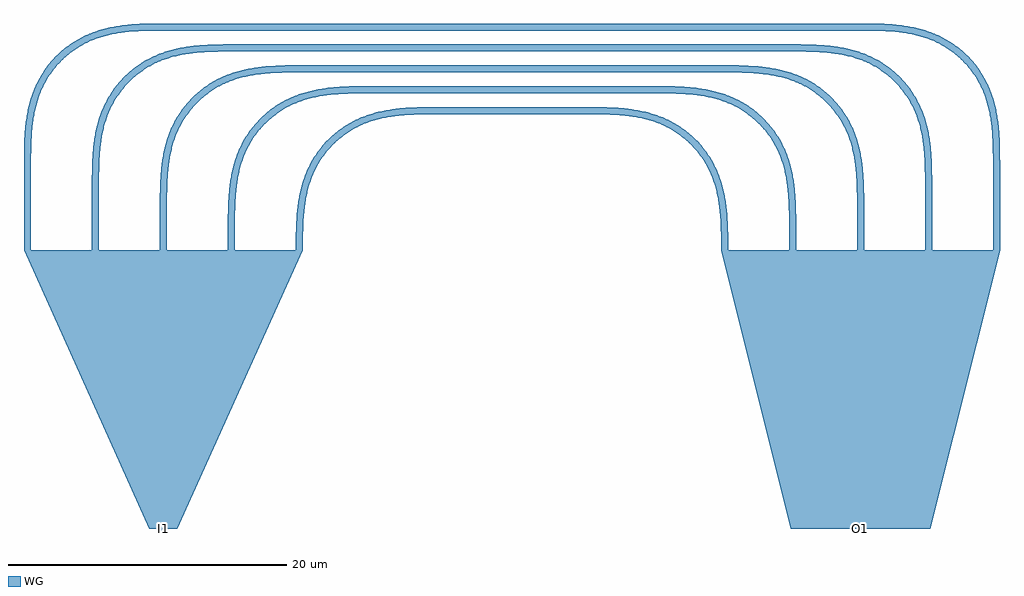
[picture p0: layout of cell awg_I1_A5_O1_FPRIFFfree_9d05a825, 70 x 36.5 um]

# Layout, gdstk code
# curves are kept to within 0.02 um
from math import pi, radians
import gdstk
lib = gdstk.Library(unit=1e-6, precision=1e-09)
def R(c, l, rs):  # rectangles x0, y0, x1, y1
    for r in rs: c.add(gdstk.rectangle(r[:2], r[2:], *l))
def P(c, l, *ps):  # polygons
    for p in ps: c.add(gdstk.Polygon(p, *l))
WG = (200, 0)

free_propagation_region_ = lib.new_cell('free_propagation_region_e8276b8c')
P(free_propagation_region_, WG, [(20,-10),(0,-1),(0,1),(20,10)],
  [(0,-0.25),(-0.25,0),(-0.062,0.188),(-0.025,0.188),(-0.215,0),(-0.025,0),(-0.025,0.188),(-0.062,0.188),(0,0.25)],
  [(20,-10),(20,-9.75),(20.025,-9.75),(20.025,-9.938),(20.215,-9.75),(20,-9.75),(20,-9.5),(20.25,-9.75)],
  [(20,-5.125),(20,-4.875),(20.025,-4.875),(20.025,-5.063),(20.215,-4.875),(20,-4.875),(20,-4.625),(20.25,-4.875)],
  [(20,-0.25),(20,0),(20.025,0),(20.025,-0.188),(20.215,0),(20,0),(20,0.25),(20.25,0)],
  [(20,4.625),(20,4.875),(20.025,4.875),(20.025,4.687),(20.215,4.875),(20,4.875),(20,5.125),(20.25,4.875)],
  [(20,9.5),(20,9.75),(20.025,9.75),(20.025,9.562),(20.215,9.75),(20,9.75),(20,10),(20.25,9.75)])
free_propagation_region_.add(gdstk.Label('o1', (0,0), layer=200, texttype=0))
free_propagation_region_.add(gdstk.Label('E0', (20,-9.75), layer=200, texttype=0))
free_propagation_region_.add(gdstk.Label('E1', (20,-4.875), layer=200, texttype=0))
free_propagation_region_.add(gdstk.Label('E2', (20,0), layer=200, texttype=0))
free_propagation_region_.add(gdstk.Label('E3', (20,4.875), layer=200, texttype=0))
free_propagation_region_.add(gdstk.Label('E4', (20,9.75), layer=200, texttype=0))

c_free_propagation_region_ = lib.new_cell('free_propagation_region_70e06e92')
P(c_free_propagation_region_, WG, [(20,-10),(0,-5),(0,5),(20,10)],
  [(0,-0.25),(-0.25,0),(-0.062,0.188),(-0.025,0.188),(-0.215,0),(-0.025,0),(-0.025,0.188),(-0.062,0.188),(0,0.25)],
  [(20,-10),(20,-9.75),(20.025,-9.75),(20.025,-9.938),(20.215,-9.75),(20,-9.75),(20,-9.5),(20.25,-9.75)],
  [(20,-5.125),(20,-4.875),(20.025,-4.875),(20.025,-5.063),(20.215,-4.875),(20,-4.875),(20,-4.625),(20.25,-4.875)],
  [(20,-0.25),(20,0),(20.025,0),(20.025,-0.188),(20.215,0),(20,0),(20,0.25),(20.25,0)],
  [(20,4.625),(20,4.875),(20.025,4.875),(20.025,4.687),(20.215,4.875),(20,4.875),(20,5.125),(20.25,4.875)],
  [(20,9.5),(20,9.75),(20.025,9.75),(20.025,9.562),(20.215,9.75),(20,9.75),(20,10),(20.25,9.75)])
c_free_propagation_region_.add(gdstk.Label('o1', (0,0), layer=200, texttype=0))
c_free_propagation_region_.add(gdstk.Label('E0', (20,-9.75), layer=200, texttype=0))
c_free_propagation_region_.add(gdstk.Label('E1', (20,-4.875), layer=200, texttype=0))
c_free_propagation_region_.add(gdstk.Label('E2', (20,0), layer=200, texttype=0))
c_free_propagation_region_.add(gdstk.Label('E3', (20,4.875), layer=200, texttype=0))
c_free_propagation_region_.add(gdstk.Label('E4', (20,9.75), layer=200, texttype=0))

bend_euler_r10_a90_p0p5_ = lib.new_cell('bend_euler_R10_A90_P0p5_f9fcb00b')
P(bend_euler_r10_a90_p0p5_, WG, [(0,-0.25),(0,0.25),(1.655,0.269),(2.881,0.353),(3.952,0.52),(4.99,0.806),(5.731,1.113),(6.431,1.505),(7.079,1.976),(7.575,2.425),(8.024,2.921),(8.495,3.569),(8.887,4.269),(9.194,5.01),(9.48,6.048),(9.647,7.119),(9.731,8.345),(9.75,10),(10.25,10),(10.235,8.468),(10.158,7.205),(10.023,6.224),(9.797,5.254),(9.457,4.312),(9.066,3.545),(8.5,2.715),(7.928,2.072),(7.285,1.5),(6.455,0.934),(5.688,0.543),(4.746,0.203),(3.776,-0.023),(2.795,-0.158),(1.532,-0.235)])

straight_l6_n2_csstrip = lib.new_cell('straight_L6_N2_CSstrip')
R(straight_l6_n2_csstrip, WG, [(0,-0.25,6,0.25)])

straight_l49p5_n2_csstri = lib.new_cell('straight_L49p5_N2_CSstrip')
R(straight_l49p5_n2_csstri, WG, [(0,-0.25,49.5,0.25)])

straight_l4p5_n2_csstrip = lib.new_cell('straight_L4p5_N2_CSstrip')
R(straight_l4p5_n2_csstrip, WG, [(0,-0.25,4.5,0.25)])

straight_l39p75_n2_csstr = lib.new_cell('straight_L39p75_N2_CSstrip')
R(straight_l39p75_n2_csstr, WG, [(0,-0.25,39.75,0.25)])

straight_l3_n2_csstrip = lib.new_cell('straight_L3_N2_CSstrip')
R(straight_l3_n2_csstrip, WG, [(0,-0.25,3,0.25)])

straight_l30_n2_csstrip = lib.new_cell('straight_L30_N2_CSstrip')
R(straight_l30_n2_csstrip, WG, [(0,-0.25,30,0.25)])

straight_l1p5_n2_csstrip = lib.new_cell('straight_L1p5_N2_CSstrip')
R(straight_l1p5_n2_csstrip, WG, [(0,-0.25,1.5,0.25)])

straight_l20p25_n2_csstr = lib.new_cell('straight_L20p25_N2_CSstrip')
R(straight_l20p25_n2_csstr, WG, [(0,-0.25,20.25,0.25)])

straight_l10p5_n2_csstri = lib.new_cell('straight_L10p5_N2_CSstrip')
R(straight_l10p5_n2_csstri, WG, [(0,-0.25,10.5,0.25)])

awg_i1_a5_o1_fprifffree_ = lib.new_cell('awg_I1_A5_O1_FPRIFFfree_9d05a825')
P(awg_i1_a5_o1_fprifffree_, WG, [(0,-0.25),(-0.225,-0.025),(-0.188,-0.025),(0,-0.215),(0,-0.025),(-0.225,-0.025),(-0.25,0),(0.25,0)],
  [(50,-0.25),(49.775,-0.025),(49.812,-0.025),(50,-0.215),(50,-0.025),(49.775,-0.025),(49.75,0),(50.25,0)])
awg_i1_a5_o1_fprifffree_.add(gdstk.Reference(free_propagation_region_, (0,0), rotation=pi/2))
awg_i1_a5_o1_fprifffree_.add(gdstk.Reference(c_free_propagation_region_, (50,0), rotation=pi/2))
awg_i1_a5_o1_fprifffree_.add(gdstk.Reference(bend_euler_r10_a90_p0p5_, (49.75,36), x_reflection=True))
awg_i1_a5_o1_fprifffree_.add(gdstk.Reference(straight_l6_n2_csstrip, (59.75,26), rotation=3*pi/2))
awg_i1_a5_o1_fprifffree_.add(gdstk.Reference(bend_euler_r10_a90_p0p5_, (-9.75,26), rotation=pi/2, x_reflection=True))
awg_i1_a5_o1_fprifffree_.add(gdstk.Reference(straight_l49p5_n2_csstri, (0.25,36)))
awg_i1_a5_o1_fprifffree_.add(gdstk.Reference(straight_l6_n2_csstrip, (-9.75,26), rotation=3*pi/2))
awg_i1_a5_o1_fprifffree_.add(gdstk.Reference(bend_euler_r10_a90_p0p5_, (44.875,34.5), x_reflection=True))
awg_i1_a5_o1_fprifffree_.add(gdstk.Reference(straight_l4p5_n2_csstrip, (54.875,24.5), rotation=3*pi/2))
awg_i1_a5_o1_fprifffree_.add(gdstk.Reference(bend_euler_r10_a90_p0p5_, (-4.875,24.5), rotation=pi/2, x_reflection=True))
awg_i1_a5_o1_fprifffree_.add(gdstk.Reference(straight_l39p75_n2_csstr, (5.125,34.5)))
awg_i1_a5_o1_fprifffree_.add(gdstk.Reference(straight_l4p5_n2_csstrip, (-4.875,24.5), rotation=3*pi/2))
awg_i1_a5_o1_fprifffree_.add(gdstk.Reference(bend_euler_r10_a90_p0p5_, (40,33), x_reflection=True))
awg_i1_a5_o1_fprifffree_.add(gdstk.Reference(straight_l3_n2_csstrip, (50,23), rotation=3*pi/2))
awg_i1_a5_o1_fprifffree_.add(gdstk.Reference(bend_euler_r10_a90_p0p5_, (0,23), rotation=pi/2, x_reflection=True))
awg_i1_a5_o1_fprifffree_.add(gdstk.Reference(straight_l30_n2_csstrip, (10,33)))
awg_i1_a5_o1_fprifffree_.add(gdstk.Reference(straight_l3_n2_csstrip, (0,23), rotation=3*pi/2))
awg_i1_a5_o1_fprifffree_.add(gdstk.Reference(bend_euler_r10_a90_p0p5_, (35.125,31.5), x_reflection=True))
awg_i1_a5_o1_fprifffree_.add(gdstk.Reference(straight_l1p5_n2_csstrip, (45.125,21.5), rotation=3*pi/2))
awg_i1_a5_o1_fprifffree_.add(gdstk.Reference(bend_euler_r10_a90_p0p5_, (4.875,21.5), rotation=pi/2, x_reflection=True))
awg_i1_a5_o1_fprifffree_.add(gdstk.Reference(straight_l20p25_n2_csstr, (14.875,31.5)))
awg_i1_a5_o1_fprifffree_.add(gdstk.Reference(straight_l1p5_n2_csstrip, (4.875,21.5), rotation=3*pi/2))
awg_i1_a5_o1_fprifffree_.add(gdstk.Reference(bend_euler_r10_a90_p0p5_, (30.25,30), x_reflection=True))
awg_i1_a5_o1_fprifffree_.add(gdstk.Reference(bend_euler_r10_a90_p0p5_, (9.75,20), rotation=pi/2, x_reflection=True))
awg_i1_a5_o1_fprifffree_.add(gdstk.Reference(straight_l10p5_n2_csstri, (19.75,30)))
awg_i1_a5_o1_fprifffree_.add(gdstk.Label('I1', (0,0), layer=200, texttype=0))
awg_i1_a5_o1_fprifffree_.add(gdstk.Label('O1', (50,0), layer=200, texttype=0))

lib.write_gds('awg_I1_A5_O1_FPRIFFfree_9d05a825.gds')
